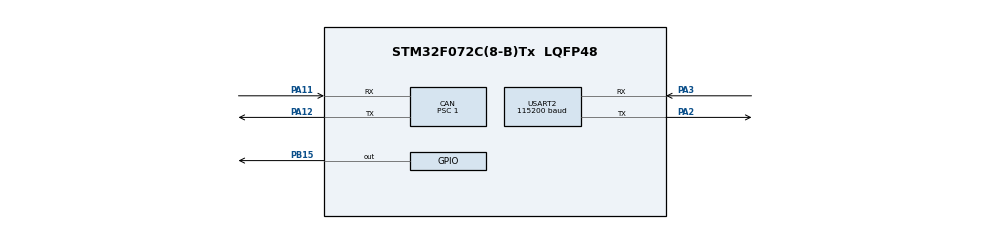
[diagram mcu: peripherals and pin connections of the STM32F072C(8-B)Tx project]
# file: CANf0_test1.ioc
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CAN.BS1=CAN_BS1_13TQ
CAN.BS2=CAN_BS2_2TQ
CAN.CalculateBaudRate=500000
CAN.CalculateTimeBit=2000
CAN.CalculateTimeQuantum=125.0
CAN.Prescaler=1
Mcu.Family=STM32F0
Mcu.Name=STM32F072C(8-B)Tx
Mcu.Package=LQFP48
NVIC.CEC_CAN_IRQn=true\:0\:0\:false\:false\:true\:true\:true\:true
NVIC.USART2_IRQn=true\:0\:0\:false\:false\:true\:true\:true\:true
PA11.Mode=CAN_Activate
PA11.Signal=CAN_RX
PA12.Mode=CAN_Activate
PA12.Signal=CAN_TX
PA13.Mode=Serial_Wire
PA13.Signal=SYS_SWDIO
PA14.Mode=Serial_Wire
PA14.Signal=SYS_SWCLK
PA2.Mode=Asynchronous
PA2.Signal=USART2_TX
PA3.Mode=Asynchronous
PA3.Signal=USART2_RX
PB15.Signal=GPIO_Output
PF0-OSC_IN.Mode=HSE-External-Oscillator
PF0-OSC_IN.Signal=RCC_OSC_IN
PF1-OSC_OUT.Mode=HSE-External-Oscillator
PF1-OSC_OUT.Signal=RCC_OSC_OUT
ProjectManager.HeapSize=0x200
ProjectManager.StackSize=0x400
ProjectManager.TargetToolchain=MDK-ARM V5.32
USART2.BaudRate=115200
USART2.VirtualMode-Asynchronous=VM_ASYNC
board=custom

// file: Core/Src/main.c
/* USER CODE BEGIN Header */
/**
  ******************************************************************************
  * @file           : main.c
  * @brief          : Improved CAN-UART Gateway with message buffering
  ******************************************************************************
  */
/* USER CODE END Header */

#include "main.h"
#include <string.h>

/* USER CODE BEGIN PTD */
// --- CAN-to-UART Message Buffer System ---
#define CAN_RX_BUFFER_SIZE 32  // Circular buffer for incoming CAN messages (power of 2)
#define UART_TX_BUFFER_SIZE 16 // <<< NEW >>> Circular buffer for outgoing UART frames (power of 2)

typedef struct
{
  uint32_t id;
  uint8_t dlc;
  uint8_t data[8];
} CanMessage_t;

// <<< NEW >>> Structure to hold a fully formatted UART frame
typedef struct
{
  uint8_t data[14]; // Max UART frame: 1(start)+2(id)+1(dlc)+8(data)+1(chk)+1(end) = 14
  uint8_t length;
} UartFrame_t;

// Circular buffer for incoming CAN messages
typedef struct
{
  CanMessage_t messages[CAN_RX_BUFFER_SIZE];
  volatile uint16_t head;
  volatile uint16_t tail;
  volatile uint32_t drops;
} CanRxBuffer_t;

// <<< NEW >>> Circular buffer for outgoing UART frames
typedef struct
{
  UartFrame_t frames[UART_TX_BUFFER_SIZE];
  volatile uint16_t head;
  volatile uint16_t tail;
  volatile uint32_t drops; // Count of UART frames dropped because TX buffer was full
} UartTxBuffer_t;

// UART transmission state
typedef enum
{
  UART_TX_IDLE,
  UART_TX_BUSY
} UART_TxState_t;

// UART Gateway state machine (unchanged)
typedef enum
{
  UART_STATE_WAITING_FOR_START,
  UART_STATE_READING_ID_HIGH,
  UART_STATE_READING_ID_LOW,
  UART_STATE_READING_DLC,
  UART_STATE_READING_DATA,
  UART_STATE_READING_CHECKSUM,
  UART_STATE_READING_END
} UART_State_t;

// Simple structure for UART->CAN messages (unchanged)
typedef struct
{
  uint16_t id;
  uint8_t dlc;
  uint8_t data[8];
} UART_CanMessage_t;
/* USER CODE END PTD */

/* USER CODE BEGIN PD */
// --- Protocol Constants ---
const uint8_t UART_START_BYTE = 0xAA;
const uint8_t UART_END_BYTE = 0x55;

/* USER CODE END PD */

CAN_HandleTypeDef hcan;
UART_HandleTypeDef huart2;

/* USER CODE BEGIN PV */
// --- Message Buffers ---
static CanRxBuffer_t canRxBuffer = {0};
static UartTxBuffer_t uartTxBuffer = {0}; // <<< NEW >>>

// --- Diagnostic Counters ---
volatile uint32_t can_rx_total = 0;
volatile uint32_t uart_tx_queued = 0;     // <<< MODIFIED >>> Total UART frames successfully queued
volatile uint32_t uart_tx_sent = 0;       // <<< MODIFIED >>> Total UART frames actually sent
volatile uint32_t can_tx_total = 0;
volatile uint32_t can_tx_errors = 0;

// --- UART Transmission State ---
static volatile UART_TxState_t uart_tx_state = UART_TX_IDLE; // <<< MODIFIED >>> Made volatile
static uint8_t uart_tx_hal_buffer[14]; // <<< MODIFIED >>> Renamed buffer used by HAL_UART_Transmit_IT

// --- UART Reception State (unchanged) ---
static UART_State_t uart_currentState = UART_STATE_WAITING_FOR_START;
static UART_CanMessage_t uart_receivedMsg;
static uint8_t uart_incomingByte;
static int uart_dataIndex = 0;
static uint8_t uart_calculatedChecksum = 0;
/* USER CODE END PV */

void SystemClock_Config(void);
static void MX_GPIO_Init(void);
static void MX_CAN_Init(void);
static void MX_USART2_UART_Init(void);

/* USER CODE BEGIN PFP */
// --- CAN RX Buffer Management ---
static uint8_t can_rx_buffer_put(uint32_t id, uint8_t* data, uint8_t dlc);
static uint8_t can_rx_buffer_get(CanMessage_t* msg);
static uint16_t can_rx_buffer_count(void);

// <<< NEW >>> --- UART TX Buffer Management ---
static uint8_t uart_tx_buffer_put(uint8_t* data, uint8_t length);
static uint8_t uart_tx_buffer_get(UartFrame_t* frame);
static uint8_t uart_tx_buffer_is_empty(void);

// --- CAN Functions ---
void can_irq(CAN_HandleTypeDef *pcan);
HAL_StatusTypeDef can_send(uint32_t id, uint8_t data[], uint8_t length);

// --- UART Gateway Functions ---
void gateway_queue_can_for_uart(uint32_t id, uint8_t* data, uint8_t dlc); // <<< MODIFIED >>> Renamed
void gateway_process_uart_byte(void);
void gateway_uart_tx_complete_callback(void);
void uart_tx_try_send(void); // <<< NEW >>>

/* USER CODE END PFP */

/* USER CODE BEGIN 0 */

// --- CAN RX Buffer Management Functions ---
// (Unchanged, but renamed for clarity)
static uint8_t can_rx_buffer_put(uint32_t id, uint8_t* data, uint8_t dlc)
{
  uint16_t next_head = (canRxBuffer.head + 1) & (CAN_RX_BUFFER_SIZE - 1);
  if (next_head == canRxBuffer.tail) {
    canRxBuffer.drops++;
    return 0;
  }
  canRxBuffer.messages[canRxBuffer.head].id = id;
  canRxBuffer.messages[canRxBuffer.head].dlc = dlc;
  memcpy(canRxBuffer.messages[canRxBuffer.head].data, data, dlc);
  canRxBuffer.head = next_head;
  return 1;
}

static uint8_t can_rx_buffer_get(CanMessage_t* msg)
{
  if (canRxBuffer.head == canRxBuffer.tail) {
    return 0;
  }
  *msg = canRxBuffer.messages[canRxBuffer.tail];
  canRxBuffer.tail = (canRxBuffer.tail + 1) & (CAN_RX_BUFFER_SIZE - 1);
  return 1;
}

static uint16_t can_rx_buffer_count(void)
{
  return (canRxBuffer.head - canRxBuffer.tail) & (CAN_RX_BUFFER_SIZE - 1);
}

// <<< NEW >>> --- UART TX Buffer Management Functions ---

/**
 * @brief  Adds a pre-formatted UART frame to the TX circular buffer.
 * @param  data: Pointer to the frame data.
 * @param  length: Length of the frame data.
 * @retval 1 if successful, 0 if buffer full (frame dropped).
 */
static uint8_t uart_tx_buffer_put(uint8_t* data, uint8_t length)
{
    uint16_t next_head = (uartTxBuffer.head + 1) & (UART_TX_BUFFER_SIZE - 1);

    // Check if buffer is full
    if (next_head == uartTxBuffer.tail) {
        uartTxBuffer.drops++;
        return 0; // Buffer full, frame dropped
    }

    // Store frame
    uartTxBuffer.frames[uartTxBuffer.head].length = length;
    memcpy(uartTxBuffer.frames[uartTxBuffer.head].data, data, length);

    // Update head pointer
    uartTxBuffer.head = next_head;

    return 1; // Success
}

/**
 * @brief  Gets a UART frame from the TX circular buffer.
 * @param  frame: Pointer to store the retrieved frame.
 * @retval 1 if frame retrieved, 0 if buffer empty.
 */
static uint8_t uart_tx_buffer_get(UartFrame_t* frame)
{
    // Check if buffer is empty
    if (uartTxBuffer.head == uartTxBuffer.tail) {
        return 0; // Buffer empty
    }

    // Retrieve frame
    *frame = uartTxBuffer.frames[uartTxBuffer.tail];

    // Update tail pointer
    uartTxBuffer.tail = (uartTxBuffer.tail + 1) & (UART_TX_BUFFER_SIZE - 1);

    return 1; // Success
}

/**
 * @brief  Checks if the UART TX buffer is empty.
 * @retval 1 if empty, 0 if not empty.
 */
static uint8_t uart_tx_buffer_is_empty(void)
{
    return (uartTxBuffer.head == uartTxBuffer.tail);
}

// --- CAN Functions ---

void can_irq(CAN_HandleTypeDef *pcan)
{
  CAN_RxHeaderTypeDef rxHeader;
  uint8_t rxData[8];
  if (HAL_CAN_GetRxMessage(pcan, CAN_RX_FIFO0, &rxHeader, rxData) == HAL_OK) {
    can_rx_total++;
    // <<< MODIFIED >>> Store in canRxBuffer
    can_rx_buffer_put(rxHeader.StdId, rxData, rxHeader.DLC);
  }
}

HAL_StatusTypeDef can_send(uint32_t id, uint8_t data[], uint8_t length)
{
  // (Unchanged)
  CAN_TxHeaderTypeDef txHeader;
  uint32_t mailbox;
  HAL_StatusTypeDef status;
  txHeader.StdId = id;
  txHeader.IDE = CAN_ID_STD;
  txHeader.RTR = CAN_RTR_DATA;
  txHeader.DLC = length;
  txHeader.TransmitGlobalTime = DISABLE;
  if (HAL_CAN_GetTxMailboxesFreeLevel(&hcan) > 0) {
    status = HAL_CAN_AddTxMessage(&hcan, &txHeader, data, &mailbox);
    if (status == HAL_OK) {
      can_tx_total++;
    } else {
      can_tx_errors++;
    }
    return status;
  }
  can_tx_errors++;
  return HAL_BUSY;
}

// --- UART Gateway Functions ---

/**
 * @brief  <<< MODIFIED >>> Builds a UART frame and queues it for transmission.
 * Also attempts to start transmission if UART is idle.
 * @param  id: CAN message ID
 * @param  data: Pointer to message data
 * @param  dlc: Data length code
 */
void gateway_queue_can_for_uart(uint32_t id, uint8_t* data, uint8_t dlc)
{
  uint8_t frame_buffer[14];
  int idx = 0;

  // Calculate checksum
  uint8_t checksum = 0;
  checksum ^= (id >> 8);
  checksum ^= (id & 0xFF);
  checksum ^= dlc;
  for (int i = 0; i < dlc; ++i) {
    checksum ^= data[i];
  }

  // Build frame
  frame_buffer[idx++] = UART_START_BYTE;
  frame_buffer[idx++] = (uint8_t)(id >> 8);
  frame_buffer[idx++] = (uint8_t)(id & 0xFF);
  frame_buffer[idx++] = dlc;
  memcpy(&frame_buffer[idx], data, dlc);
  idx += dlc;
  frame_buffer[idx++] = checksum;
  frame_buffer[idx++] = UART_END_BYTE;

  // Put the assembled frame into the UART TX buffer
  if (uart_tx_buffer_put(frame_buffer, idx)) {
      uart_tx_queued++;
  }

  // Try to send the next message from the queue
  uart_tx_try_send();
}

/**
 * @brief  <<< NEW >>> Checks queue and starts UART transmission if possible.
 * This function is safe to call from both main loop and interrupt context.
 */
void uart_tx_try_send(void)
{
    // --- Critical Section ---
    // Prevent race condition between main loop and TxCpltCallback interrupt.
    __disable_irq();

    if (uart_tx_state == UART_TX_IDLE && !uart_tx_buffer_is_empty())
    {
        // UART is free and there's a frame to send, so let's start
        uart_tx_state = UART_TX_BUSY;

        // We are in a critical section, so we can safely get the next frame
        UartFrame_t frame_to_send;
        uart_tx_buffer_get(&frame_to_send);

        __enable_irq(); // Exit critical section before HAL call

        // Copy to the buffer used by HAL and start non-blocking transmission
        memcpy(uart_tx_hal_buffer, frame_to_send.data, frame_to_send.length);
        if (HAL_UART_Transmit_IT(&huart2, uart_tx_hal_buffer, frame_to_send.length) != HAL_OK) {
            // If transmission fails to start, revert state and try again later
            uart_tx_state = UART_TX_IDLE;
        }
    }
    else
    {
        // UART is busy or queue is empty, nothing to do.
        __enable_irq(); // Exit critical section
    }
}

/**
 * @brief  UART transmission complete callback.
 */
void gateway_uart_tx_complete_callback(void)
{
  uart_tx_sent++;
  uart_tx_state = UART_TX_IDLE;

  // <<< MODIFIED >>> Transmission is complete, try to send the next frame in the queue.
  uart_tx_try_send();
}

/**
 * @brief  Process UART byte (unchanged from original)
 */
void gateway_process_uart_byte(void)
{
  // (Unchanged)
  switch (uart_currentState)
  {
  case UART_STATE_WAITING_FOR_START:
    if (uart_incomingByte == UART_START_BYTE)
    {
      uart_currentState = UART_STATE_READING_ID_HIGH;
      uart_calculatedChecksum = 0;
      uart_dataIndex = 0;
      memset(&uart_receivedMsg, 0, sizeof(uart_receivedMsg));
    }
    break;

  case UART_STATE_READING_ID_HIGH:
    uart_receivedMsg.id = (uint16_t)uart_incomingByte << 8;
    uart_calculatedChecksum ^= uart_incomingByte;
    uart_currentState = UART_STATE_READING_ID_LOW;
    break;

  case UART_STATE_READING_ID_LOW:
    uart_receivedMsg.id |= uart_incomingByte;
    uart_calculatedChecksum ^= uart_incomingByte;
    uart_currentState = UART_STATE_READING_DLC;
    break;

  case UART_STATE_READING_DLC:
    uart_receivedMsg.dlc = uart_incomingByte;
    uart_calculatedChecksum ^= uart_incomingByte;
    if (uart_receivedMsg.dlc <= 8)
    {
      uart_currentState = (uart_receivedMsg.dlc == 0) ? UART_STATE_READING_CHECKSUM : UART_STATE_READING_DATA;
    }
    else
    {
      uart_currentState = UART_STATE_WAITING_FOR_START;
    }
    break;

  case UART_STATE_READING_DATA:
    uart_receivedMsg.data[uart_dataIndex] = uart_incomingByte;
    uart_calculatedChecksum ^= uart_incomingByte;
    uart_dataIndex++;
    if (uart_dataIndex == uart_receivedMsg.dlc)
    {
      uart_currentState = UART_STATE_READING_CHECKSUM;
    }
    break;

  case UART_STATE_READING_CHECKSUM:
    if (uart_incomingByte == uart_calculatedChecksum)
    {
      uart_currentState = UART_STATE_READING_END;
    }
    else
    {
      uart_currentState = UART_STATE_WAITING_FOR_START;
    }
    break;

  case UART_STATE_READING_END:
    if (uart_incomingByte == UART_END_BYTE)
    {
      can_send(uart_receivedMsg.id, uart_receivedMsg.data, uart_receivedMsg.dlc);
      HAL_GPIO_TogglePin(GPIOB, GPIO_PIN_15);
    }
    uart_currentState = UART_STATE_WAITING_FOR_START;
    break;
  }
}

// --- HAL Callbacks ---

/**
 * @brief  UART RX complete callback (unchanged)
 */
void HAL_UART_RxCpltCallback(UART_HandleTypeDef *huart)
{
  if (huart->Instance == USART2)
  {
    gateway_process_uart_byte();
    HAL_UART_Receive_IT(&huart2, &uart_incomingByte, 1);
  }
}

/**
 * @brief  UART TX complete callback
 */
void HAL_UART_TxCpltCallback(UART_HandleTypeDef *huart)
{
  if (huart->Instance == USART2)
  {
    gateway_uart_tx_complete_callback();
  }
}
/* USER CODE END 0 */

int main(void)
{
  /* MCU Configuration */
  HAL_Init();
  SystemClock_Config();

  /* Initialize peripherals */
  MX_GPIO_Init();
  MX_CAN_Init();
  MX_USART2_UART_Init();

  /* USER CODE BEGIN 2 */
  HAL_GPIO_WritePin(GPIOB, GPIO_PIN_15, GPIO_PIN_RESET);

  // Initialize buffers
  memset(&canRxBuffer, 0, sizeof(canRxBuffer));
  memset(&uartTxBuffer, 0, sizeof(uartTxBuffer)); // <<< NEW >>>

  // Start UART reception
  HAL_UART_Receive_IT(&huart2, &uart_incomingByte, 1);
  /* USER CODE END 2 */

  /* Infinite loop */
  while (1)
  {
    /* USER CODE BEGIN 3 */
    // <<< MODIFIED >>> Main loop logic is now cleaner
    CanMessage_t msg;

    // Process all buffered CAN messages
    // This will pull messages from the CAN RX buffer and place them
    // into the UART TX buffer. The TX process is handled by interrupts.
    if (can_rx_buffer_get(&msg))
    {
      gateway_queue_can_for_uart(msg.id, msg.data, msg.dlc);
    }

    // The HAL_Delay from your original code is removed. The main loop
    // can now continuously pull from the CAN buffer and queue for UART
    // without blocking. If both buffers are empty, the loop will spin,
    // which is fine. You can add a __WFI() (Wait For Interrupt) instruction
    // here for power saving if desired.

    // e.g., if (can_rx_buffer_is_empty() && uart_tx_buffer_is_empty()) { __WFI(); }

    /* USER CODE END 3 */
  }
}

// ... (SystemClock_Config, MX_CAN_Init, MX_USART2_UART_Init, MX_GPIO_Init, Error_Handler, assert_failed remain unchanged)
// ... (Your existing peripheral initialization functions go here)

void SystemClock_Config(void)
{
  RCC_OscInitTypeDef RCC_OscInitStruct = {0};
  RCC_ClkInitTypeDef RCC_ClkInitStruct = {0};
  RCC_PeriphCLKInitTypeDef PeriphClkInit = {0};

  /** Initializes the RCC Oscillators according to the specified parameters
  * in the RCC_OscInitTypeDef structure.
  */
  RCC_OscInitStruct.OscillatorType = RCC_OSCILLATORTYPE_HSI;
  RCC_OscInitStruct.HSIState = RCC_HSI_ON;
  RCC_OscInitStruct.HSICalibrationValue = RCC_HSICALIBRATION_DEFAULT;
  RCC_OscInitStruct.PLL.PLLState = RCC_PLL_NONE;
  if (HAL_RCC_OscConfig(&RCC_OscInitStruct) != HAL_OK)
  {
    Error_Handler();
  }

  /** Initializes the CPU, AHB and APB buses clocks
  */
  RCC_ClkInitStruct.ClockType = RCC_CLOCKTYPE_HCLK|RCC_CLOCKTYPE_SYSCLK
                              |RCC_CLOCKTYPE_PCLK1;
  RCC_ClkInitStruct.SYSCLKSource = RCC_SYSCLKSOURCE_HSI;
  RCC_ClkInitStruct.AHBCLKDivider = RCC_SYSCLK_DIV1;
  RCC_ClkInitStruct.APB1CLKDivider = RCC_HCLK_DIV1;

  if (HAL_RCC_ClockConfig(&RCC_ClkInitStruct, FLASH_LATENCY_0) != HAL_OK)
  {
    Error_Handler();
  }
  PeriphClkInit.PeriphClockSelection = RCC_PERIPHCLK_USART2;
  PeriphClkInit.Usart2ClockSelection = RCC_USART2CLKSOURCE_PCLK1;
  if (HAL_RCCEx_PeriphCLKConfig(&PeriphClkInit) != HAL_OK)
  {
    Error_Handler();
  }
}

static void MX_CAN_Init(void)
{

  hcan.Instance = CAN;
  hcan.Init.Prescaler = 1;
  hcan.Init.Mode = CAN_MODE_NORMAL;
  hcan.Init.SyncJumpWidth = CAN_SJW_1TQ;
  hcan.Init.TimeSeg1 = CAN_BS1_13TQ;
  hcan.Init.TimeSeg2 = CAN_BS2_2TQ;
  hcan.Init.TimeTriggeredMode = DISABLE;
  hcan.Init.AutoBusOff = DISABLE;
  hcan.Init.AutoWakeUp = DISABLE;
  hcan.Init.AutoRetransmission = DISABLE;
  hcan.Init.ReceiveFifoLocked = DISABLE;
  hcan.Init.TransmitFifoPriority = DISABLE;
  if (HAL_CAN_Init(&hcan) != HAL_OK)
  {
    Error_Handler();
  }
  /* USER CODE BEGIN CAN_Init 2 */
	CAN_FilterTypeDef sf;
  sf.FilterMaskIdHigh = 0x0000;
  sf.FilterMaskIdLow = 0x0000;
  sf.FilterFIFOAssignment = CAN_FILTER_FIFO0;
  sf.FilterBank = 0;
  sf.FilterMode = CAN_FILTERMODE_IDMASK;
  sf.FilterScale = CAN_FILTERSCALE_32BIT;
  sf.FilterActivation = CAN_FILTER_ENABLE;
  if (HAL_CAN_ConfigFilter(&hcan, &sf) != HAL_OK) { Error_Handler(); }

  if (HAL_CAN_RegisterCallback(&hcan, HAL_CAN_RX_FIFO0_MSG_PENDING_CB_ID, can_irq) != HAL_OK) { Error_Handler(); }

  if (HAL_CAN_Start(&hcan) != HAL_OK) { Error_Handler(); }

  if (HAL_CAN_ActivateNotification(&hcan, CAN_IT_RX_FIFO0_MSG_PENDING) != HAL_OK) { Error_Handler(); }

  /* Enable interrupts for CAN: FIFO0 message pending, transmit mailbox empty, error */
__HAL_CAN_ENABLE_IT(&hcan,
                    CAN_IT_RX_FIFO0_MSG_PENDING | // RX FIFO0 message
                    CAN_IT_TX_MAILBOX_EMPTY    | // Transmit mailbox empty
                    CAN_IT_ERROR_WARNING       | // Error warning
                    CAN_IT_ERROR_PASSIVE       | // Error passive
                    CAN_IT_BUSOFF              | // Bus-off
                    CAN_IT_LAST_ERROR_CODE     | // Last error code
                    CAN_IT_ERROR               ); // General error

/* Configure NVIC for CAN interrupts */
HAL_NVIC_SetPriority(CEC_CAN_IRQn, 0, 0);
HAL_NVIC_EnableIRQ(CEC_CAN_IRQn);
  /* USER CODE END CAN_Init 2 */

}

static void MX_USART2_UART_Init(void)
{

  huart2.Instance = USART2;
  huart2.Init.BaudRate = 115200;
  huart2.Init.WordLength = UART_WORDLENGTH_8B;
  huart2.Init.StopBits = UART_STOPBITS_1;
  huart2.Init.Parity = UART_PARITY_NONE;
  huart2.Init.Mode = UART_MODE_TX_RX;
  huart2.Init.HwFlowCtl = UART_HWCONTROL_NONE;
  huart2.Init.OverSampling = UART_OVERSAMPLING_16;
  huart2.Init.OneBitSampling = UART_ONE_BIT_SAMPLE_DISABLE;
  huart2.AdvancedInit.AdvFeatureInit = UART_ADVFEATURE_NO_INIT;
  if (HAL_UART_Init(&huart2) != HAL_OK)
  {
    Error_Handler();
  }

}

static void MX_GPIO_Init(void)
{
  GPIO_InitTypeDef GPIO_InitStruct = {0};

  /* GPIO Ports Clock Enable */
  __HAL_RCC_GPIOF_CLK_ENABLE();
  __HAL_RCC_GPIOA_CLK_ENABLE();
  __HAL_RCC_GPIOB_CLK_ENABLE();

  /*Configure GPIO pin Output Level */
  HAL_GPIO_WritePin(GPIOB, GPIO_PIN_15, GPIO_PIN_RESET);

  /*Configure GPIO pin : PB15 */
  GPIO_InitStruct.Pin = GPIO_PIN_15;
  GPIO_InitStruct.Mode = GPIO_MODE_OUTPUT_PP;
  GPIO_InitStruct.Pull = GPIO_NOPULL;
  GPIO_InitStruct.Speed = GPIO_SPEED_FREQ_LOW;
  HAL_GPIO_Init(GPIOB, &GPIO_InitStruct);

}

void Error_Handler(void)
{
  __disable_irq();
  while (1)
  {
  }
}
